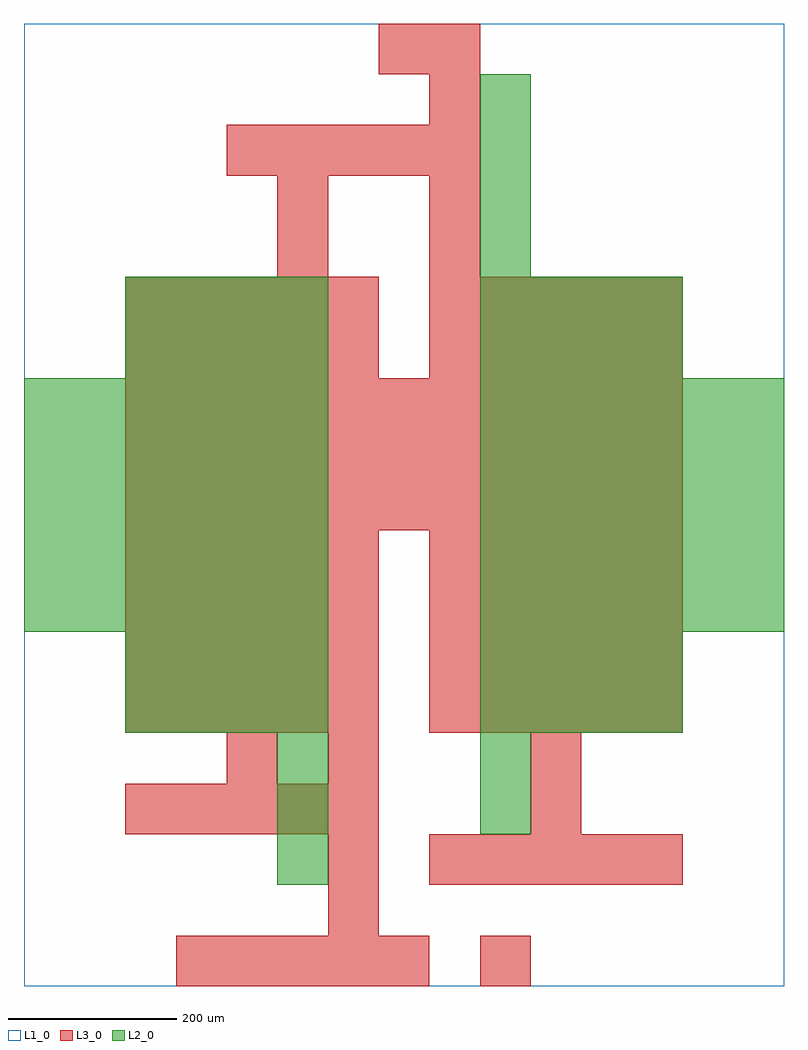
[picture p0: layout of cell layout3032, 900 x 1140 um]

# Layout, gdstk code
import gdstk
lib = gdstk.Library(unit=1e-6, precision=1e-09)
def R(c, l, rs):  # rectangles x0, y0, x1, y1
    for r in rs: c.add(gdstk.rectangle(r[:2], r[2:], *l))
def A(c, l, x, y, w, h, nx, ny, dx, dy):  # array of equal rectangles
    R(c, l, [(x+i*dx, y+j*dy, x+i*dx+w, y+j*dy+h) for i in range(nx) for j in range(ny)])
L1_0 = (1, 0)
L2_0 = (2, 0)
L3_0 = (3, 0)

layout3032 = lib.new_cell('layout3032')
R(layout3032, L1_0, [(0,0,900,1140)])
A(layout3032, L2_0, 300, 120, 60, 60, 1, 3, 0, 60)
A(layout3032, L2_0, 120, 300, 60, 60, 4, 2, 60, 60)
A(layout3032, L2_0, 540, 300, 60, 60, 4, 2, 60, 60)
A(layout3032, L2_0, 0, 420, 60, 60, 6, 5, 60, 60)
A(layout3032, L2_0, 540, 420, 60, 60, 6, 5, 60, 60)
A(layout3032, L2_0, 120, 720, 60, 60, 4, 2, 60, 60)
A(layout3032, L2_0, 540, 720, 60, 60, 4, 2, 60, 60)
A(layout3032, L2_0, 540, 840, 60, 60, 1, 4, 0, 60)
R(layout3032, L2_0, [(540,180,600,240), (540,240,600,300)])
A(layout3032, L3_0, 180, 0, 60, 60, 5, 1, 60, 0)
A(layout3032, L3_0, 480, 120, 60, 60, 5, 2, 60, 180)
A(layout3032, L3_0, 120, 180, 60, 60, 5, 2, 60, 120)
A(layout3032, L3_0, 120, 360, 60, 60, 5, 3, 60, 60)
A(layout3032, L3_0, 480, 360, 60, 60, 5, 3, 60, 60)
A(layout3032, L3_0, 120, 540, 60, 60, 11, 3, 60, 60)
A(layout3032, L3_0, 120, 720, 60, 60, 5, 2, 60, 60)
A(layout3032, L3_0, 480, 720, 60, 60, 5, 2, 60, 60)
A(layout3032, L3_0, 240, 960, 60, 60, 5, 1, 60, 0)
R(layout3032, L3_0, [(540,0,600,60), (360,60,420,120), (360,120,420,180), (600,180,660,240), (240,240,300,300), (360,240,420,300), (600,240,660,300), (300,840,360,900), (480,840,540,900), (300,900,360,960), (480,900,540,960), (480,1020,540,1080), (420,1080,480,1140), (480,1080,540,1140)])

lib.write_gds('layout3032.gds')
